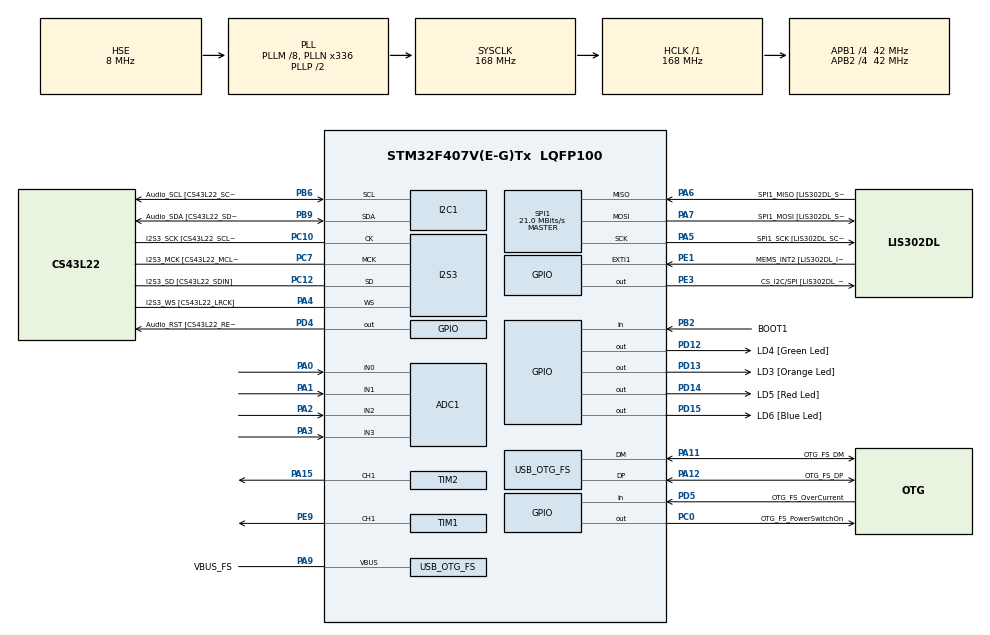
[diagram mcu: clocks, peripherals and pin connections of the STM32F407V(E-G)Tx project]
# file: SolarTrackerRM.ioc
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ADC1.Channel-0\#ChannelRegularConversion=ADC_CHANNEL_0
ADC1.Channel-1\#ChannelRegularConversion=ADC_CHANNEL_1
ADC1.Channel-2\#ChannelRegularConversion=ADC_CHANNEL_2
ADC1.Channel-3\#ChannelRegularConversion=ADC_CHANNEL_3
ADC1.ContinuousConvMode=ENABLE
ADC1.NbrOfConversion=4
ADC1.NbrOfConversionFlag=1
ADC1.Rank-0\#ChannelRegularConversion=1
ADC1.Rank-1\#ChannelRegularConversion=2
ADC1.Rank-2\#ChannelRegularConversion=3
ADC1.Rank-3\#ChannelRegularConversion=4
ADC1.SamplingTime-0\#ChannelRegularConversion=ADC_SAMPLETIME_480CYCLES
ADC1.SamplingTime-1\#ChannelRegularConversion=ADC_SAMPLETIME_480CYCLES
ADC1.SamplingTime-2\#ChannelRegularConversion=ADC_SAMPLETIME_480CYCLES
ADC1.SamplingTime-3\#ChannelRegularConversion=ADC_SAMPLETIME_480CYCLES
ADC1.ScanConvMode=ENABLE
ADC1.master=1
Dma.ADC1.0.Direction=DMA_PERIPH_TO_MEMORY
Dma.ADC1.0.FIFOMode=DMA_FIFOMODE_DISABLE
Dma.ADC1.0.Instance=DMA2_Stream0
Dma.ADC1.0.MemDataAlignment=DMA_MDATAALIGN_HALFWORD
Dma.ADC1.0.MemInc=DMA_MINC_ENABLE
Dma.ADC1.0.Mode=DMA_CIRCULAR
Dma.ADC1.0.PeriphDataAlignment=DMA_PDATAALIGN_HALFWORD
Dma.ADC1.0.PeriphInc=DMA_PINC_DISABLE
Dma.ADC1.0.Priority=DMA_PRIORITY_LOW
Dma.Request0=ADC1
I2S3.AudioFreq-Half_Duplex_Master=I2S_AUDIOFREQ_96K
I2S3.ErrorAudioFreq=-2.34 %
I2S3.ErrorAudioFreq-Half_Duplex_Master=0.8 %
I2S3.FullDuplexMode=I2S_FULLDUPLEXMODE_DISABLE
I2S3.Instance=SPI$Index
I2S3.RealAudioFreq=93.75 KHz
I2S3.RealAudioFreq-Half_Duplex_Master=96.774 KHz
I2S3.VirtualMode=I2S_MODE_MASTER
Mcu.Family=STM32F4
Mcu.Name=STM32F407V(E-G)Tx
Mcu.Package=LQFP100
NVIC.ADC_IRQn=true\:0\:0\:false\:false\:true\:true\:true\:true
NVIC.DMA2_Stream0_IRQn=true\:0\:0\:false\:false\:true\:false\:true\:true
NVIC.OTG_FS_IRQn=true\:0\:0\:false\:false\:true\:true\:true\:true
NVIC.PriorityGroup=NVIC_PRIORITYGROUP_0
PA0-WKUP.Signal=ADCx_IN0
PA1.Signal=ADCx_IN1
PA10.GPIO_Label=OTG_FS_ID
PA10.GPIO_Mode=GPIO_MODE_AF_PP
PA10.GPIO_PuPd=GPIO_NOPULL
PA10.GPIO_Speed=GPIO_SPEED_FREQ_LOW
PA10.Signal=USB_OTG_FS_ID
PA11.GPIO_Label=OTG_FS_DM
PA11.GPIO_Mode=GPIO_MODE_AF_PP
PA11.GPIO_PuPd=GPIO_NOPULL
PA11.GPIO_Speed=GPIO_SPEED_FREQ_LOW
PA11.Mode=Host_Only
PA11.Signal=USB_OTG_FS_DM
PA12.GPIO_Label=OTG_FS_DP
PA12.GPIO_Mode=GPIO_MODE_AF_PP
PA12.GPIO_PuPd=GPIO_NOPULL
PA12.GPIO_Speed=GPIO_SPEED_FREQ_LOW
PA12.Mode=Host_Only
PA12.Signal=USB_OTG_FS_DP
PA13.GPIO_Label=SWDIO
PA13.Mode=Serial_Wire
PA13.Signal=SYS_JTMS-SWDIO
PA14.GPIO_Label=SWCLK
PA14.Mode=Serial_Wire
PA14.Signal=SYS_JTCK-SWCLK
PA15.Signal=S_TIM2_CH1_ETR
PA2.Signal=ADCx_IN2
PA3.Signal=ADCx_IN3
PA4.GPIO_Label=I2S3_WS [CS43L22_LRCK]
PA4.GPIO_Mode=GPIO_MODE_AF_PP
PA4.GPIO_PuPd=GPIO_NOPULL
PA4.GPIO_Speed=GPIO_SPEED_FREQ_LOW
PA4.Mode=Half_Duplex_Master
PA4.Signal=I2S3_WS
PA5.GPIO_Label=SPI1_SCK [LIS302DL_SCL/SPC]
PA5.GPIO_Mode=GPIO_MODE_AF_PP
PA5.GPIO_PuPd=GPIO_NOPULL
PA5.GPIO_Speed=GPIO_SPEED_FREQ_LOW
PA5.Mode=Full_Duplex_Master
PA5.Signal=SPI1_SCK
PA6.GPIO_Label=SPI1_MISO [LIS302DL_SDO]
PA6.GPIO_Mode=GPIO_MODE_AF_PP
PA6.GPIO_PuPd=GPIO_NOPULL
PA6.GPIO_Speed=GPIO_SPEED_FREQ_LOW
PA6.Mode=Full_Duplex_Master
PA6.Signal=SPI1_MISO
PA7.GPIO_Label=SPI1_MOSI [LIS302DL_SDA/SDI/SDO]
PA7.GPIO_Mode=GPIO_MODE_AF_PP
PA7.GPIO_PuPd=GPIO_NOPULL
PA7.GPIO_Speed=GPIO_SPEED_FREQ_LOW
PA7.Mode=Full_Duplex_Master
PA7.Signal=SPI1_MOSI
PA9.GPIO_Label=VBUS_FS
PA9.GPIO_Mode=GPIO_MODE_INPUT
PA9.GPIO_PuPd=GPIO_NOPULL
PA9.Mode=Activate_VBUS
PA9.Signal=USB_OTG_FS_VBUS
PB10.GPIO_Label=CLK_IN [MP45DT02_CLK]
PB10.GPIO_Mode=GPIO_MODE_AF_PP
PB10.GPIO_PuPd=GPIO_NOPULL
PB10.GPIO_Speed=GPIO_SPEED_FREQ_LOW
PB10.Signal=I2S2_CK
PB2.GPIO_Label=BOOT1
PB2.GPIO_Mode=GPIO_MODE_INPUT
PB2.GPIO_PuPd=GPIO_NOPULL
PB2.Signal=GPIO_Input
PB3.GPIO_Label=SWO
PB3.Signal=SYS_JTDO-SWO
PB6.GPIO_Label=Audio_SCL [CS43L22_SCL]
PB6.GPIO_Mode=GPIO_MODE_AF_OD
PB6.GPIO_Pu=GPIO_PULLUP
PB6.GPIO_PuPd=GPIO_NOPULL
PB6.GPIO_Speed=GPIO_SPEED_FREQ_LOW
PB6.Mode=I2C
PB6.Signal=I2C1_SCL
PB9.GPIO_Label=Audio_SDA [CS43L22_SDA]
PB9.GPIO_Mode=GPIO_MODE_AF_OD
PB9.GPIO_Pu=GPIO_PULLUP
PB9.GPIO_PuPd=GPIO_NOPULL
PB9.GPIO_Speed=GPIO_SPEED_FREQ_LOW
PB9.Mode=I2C
PB9.Signal=I2C1_SDA
PC0.GPIO_Label=OTG_FS_PowerSwitchOn
PC0.GPIO_PuPd=GPIO_NOPULL
PC0.GPIO_Speed=GPIO_SPEED_FREQ_LOW
PC0.PinState=GPIO_PIN_SET
PC0.Signal=GPIO_Output
PC10.GPIO_Label=I2S3_SCK [CS43L22_SCLK]
PC10.GPIO_Mode=GPIO_MODE_AF_PP
PC10.GPIO_PuPd=GPIO_NOPULL
PC10.GPIO_Speed=GPIO_SPEED_FREQ_LOW
PC10.Mode=Half_Duplex_Master
PC10.Signal=I2S3_CK
PC12.GPIO_Label=I2S3_SD [CS43L22_SDIN]
PC12.GPIO_Mode=GPIO_MODE_AF_PP
PC12.GPIO_PuPd=GPIO_NOPULL
PC12.GPIO_Speed=GPIO_SPEED_FREQ_LOW
PC12.Mode=Half_Duplex_Master
PC12.Signal=I2S3_SD
PC14-OSC32_IN.GPIO_Label=PC14-OSC32_IN
PC14-OSC32_IN.Mode=LSE-External-Oscillator
PC14-OSC32_IN.Signal=RCC_OSC32_IN
PC15-OSC32_OUT.GPIO_Label=PC15-OSC32_OUT
PC15-OSC32_OUT.Mode=LSE-External-Oscillator
PC15-OSC32_OUT.Signal=RCC_OSC32_OUT
PC3.GPIO_Label=PDM_OUT [MP45DT02_DOUT]
PC3.GPIO_Mode=GPIO_MODE_AF_PP
PC3.GPIO_PuPd=GPIO_NOPULL
PC3.GPIO_Speed=GPIO_SPEED_FREQ_LOW
PC3.Signal=I2S2_SD
PC7.GPIO_Label=I2S3_MCK [CS43L22_MCLK]
PC7.GPIO_Mode=GPIO_MODE_AF_PP
PC7.GPIO_PuPd=GPIO_NOPULL
PC7.GPIO_Speed=GPIO_SPEED_FREQ_LOW
PC7.Mode=Master_Clock_Activated
PC7.Signal=I2S3_MCK
PD12.GPIO_Label=LD4 [Green Led]
PD12.GPIO_PuPd=GPIO_NOPULL
PD12.GPIO_Speed=GPIO_SPEED_FREQ_LOW
PD12.Signal=GPIO_Output
PD13.GPIO_Label=LD3 [Orange Led]
PD13.GPIO_PuPd=GPIO_NOPULL
PD13.GPIO_Speed=GPIO_SPEED_FREQ_LOW
PD13.Signal=GPIO_Output
PD14.GPIO_Label=LD5 [Red Led]
PD14.GPIO_PuPd=GPIO_NOPULL
PD14.GPIO_Speed=GPIO_SPEED_FREQ_LOW
PD14.Signal=GPIO_Output
PD15.GPIO_Label=LD6 [Blue Led]
PD15.GPIO_PuPd=GPIO_NOPULL
PD15.GPIO_Speed=GPIO_SPEED_FREQ_LOW
PD15.Signal=GPIO_Output
PD4.GPIO_Label=Audio_RST [CS43L22_RESET]
PD4.GPIO_PuPd=GPIO_NOPULL
PD4.GPIO_Speed=GPIO_SPEED_FREQ_LOW
PD4.Signal=GPIO_Output
PD5.GPIO_Label=OTG_FS_OverCurrent
PD5.GPIO_Mode=GPIO_MODE_INPUT
PD5.GPIO_PuPd=GPIO_NOPULL
PD5.Signal=GPIO_Input
PE1.GPIO_Label=MEMS_INT2 [LIS302DL_INT2]
PE1.GPIO_ModeDefaultEXTI=GPIO_MODE_EVT_RISING
PE1.GPIO_PuPd=GPIO_NOPULL
PE1.Signal=GPXTI1
PE3.GPIO_Label=CS_I2C/SPI [LIS302DL_CS_I2C/SPI]
PE3.GPIO_PuPd=GPIO_NOPULL
PE3.GPIO_Speed=GPIO_SPEED_FREQ_LOW
PE3.Signal=GPIO_Output
PE9.Signal=S_TIM1_CH1
PH0-OSC_IN.GPIO_Label=PH0-OSC_IN
PH0-OSC_IN.Mode=HSE-External-Oscillator
PH0-OSC_IN.Signal=RCC_OSC_IN
PH1-OSC_OUT.GPIO_Label=PH1-OSC_OUT
PH1-OSC_OUT.Mode=HSE-External-Oscillator
PH1-OSC_OUT.Signal=RCC_OSC_OUT
ProjectManager.HeapSize=0x200
ProjectManager.StackSize=0x400
ProjectManager.TargetToolchain=STM32CubeIDE
RCC.48MHZClocksFreq_Value=48000000
RCC.AHBFreq_Value=168000000
RCC.APB1CLKDivider=RCC_HCLK_DIV4
RCC.APB1Freq_Value=42000000
RCC.APB1TimFreq_Value=84000000
RCC.APB2CLKDivider=RCC_HCLK_DIV4
RCC.APB2Freq_Value=42000000
RCC.APB2TimFreq_Value=84000000
RCC.CortexFreq_Value=168000000
RCC.HCLKFreq_Value=168000000
RCC.HSE_VALUE=8000000
RCC.HSI_VALUE=16000000
RCC.PLLM=8
RCC.PLLN=336
RCC.PLLQ=7
RCC.SYSCLKFreq_VALUE=168000000
RCC.SYSCLKSource=RCC_SYSCLKSOURCE_PLLCLK
RCC.VCOOutputFreq_Value=336000000
SH.ADCx_IN0.0=ADC1_IN0,IN0
SH.ADCx_IN1.0=ADC1_IN1,IN1
SH.ADCx_IN2.0=ADC1_IN2,IN2
SH.ADCx_IN3.0=ADC1_IN3,IN3
SH.S_TIM1_CH1.0=TIM1_CH1,PWM Generation1 CH1
SH.S_TIM2_CH1_ETR.0=TIM2_CH1,PWM Generation1 CH1
SPI1.BaudRatePrescaler-Full_Duplex_Master=SPI_BAUDRATEPRESCALER_2
SPI1.CalculateBaudRate=21.0 MBits/s
SPI1.CalculateBaudRate-Full_Duplex_Master=42.0 MBits/s
SPI1.Direction=SPI_DIRECTION_2LINES
SPI1.Mode=SPI_MODE_MASTER
SPI1.Mode-Full_Duplex_Master=SPI_MODE_MASTER
SPI1.VirtualType=VM_MASTER
TIM1.Channel-PWM\ Generation1\ CH1=TIM_CHANNEL_1
TIM1.Period=10000-1
TIM1.Prescaler=168-1
TIM2.Channel-PWM\ Generation1\ CH1=TIM_CHANNEL_1
TIM2.Period=10000-1
TIM2.Prescaler=168-1
USB_HOST.BSP.number=1
USB_HOST.USBH_HandleTypeDef-CDC_FS=hUsbHostFS
USB_HOST.VirtualModeFS=Cdc
USB_HOST0.BSP.STBoard=false
USB_HOST0.BSP.api=Unknown
USB_HOST0.BSP.instance=PC0
USB_HOST0.BSP.ip=GPIO
USB_HOST0.BSP.mode=Output
USB_HOST0.BSP.name=Drive_VBUS_FS
USB_HOST0.BSP.solution=PC0
USB_OTG_FS.VirtualMode=Host_Only
USB_OTG_FS.phy_itface=HCD_PHY_EMBEDDED
VP_USB_HOST_VS_USB_HOST_CDC_FS.Mode=CDC_FS
board=STM32F407G-DISC1

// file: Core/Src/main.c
/* USER CODE BEGIN Header */
/**
  ******************************************************************************
  * @file           : main.c
  * @brief          : Main program body
  ******************************************************************************
  * @attention
  *
  * Copyright (c) 2024 STMicroelectronics.
  * All rights reserved.
  *
  * This software is licensed under terms that can be found in the LICENSE file
  * in the root directory of this software component.
  * If no LICENSE file comes with this software, it is provided AS-IS.
  *
  ******************************************************************************
  */
/* USER CODE END Header */
#include "main.h"
#include "usb_host.h"
#include "stdio.h"

ADC_HandleTypeDef hadc1;
DMA_HandleTypeDef hdma_adc1;

I2C_HandleTypeDef hi2c1;

I2S_HandleTypeDef hi2s3;

SPI_HandleTypeDef hspi1;

TIM_HandleTypeDef htim1;
TIM_HandleTypeDef htim2;

/* USER CODE BEGIN PV */
uint16_t tl=0;
uint16_t bl=0;
uint16_t tr=0;
uint16_t br=0;
uint16_t servo_v=250;
uint16_t servo_h=250;
uint16_t raw[4];
int servo_H_limit2=750;
int servo_H_limit=1250;
int servo_L_limit=250;

/* USER CODE END PV */

void SystemClock_Config(void);
static void MX_GPIO_Init(void);
static void MX_DMA_Init(void);
static void MX_I2C1_Init(void);
static void MX_I2S3_Init(void);
static void MX_SPI1_Init(void);
static void MX_TIM1_Init(void);
static void MX_TIM2_Init(void);
static void MX_ADC1_Init(void);
void MX_USB_HOST_Process(void);

/* USER CODE BEGIN 0 */
int _write(int file, char *ptr, int len)
{
  int i;

  for (i = 0; i < len; i++)
  {
   ITM_SendChar (*ptr++);
  }
  return len;
}
/* USER CODE END 0 */

int main(void)
{

  /* MCU Configuration--------------------------------------------------------*/

  /* Reset of all peripherals, Initializes the Flash interface and the Systick. */
  HAL_Init();

  /* Configure the system clock */
  SystemClock_Config();

  /* Initialize all configured peripherals */
  MX_GPIO_Init();
  MX_DMA_Init();
  MX_I2C1_Init();
  MX_I2S3_Init();
  MX_SPI1_Init();
  MX_USB_HOST_Init();
  MX_TIM1_Init();
  MX_TIM2_Init();
  MX_ADC1_Init();
  HAL_ADC_Start_DMA(&hadc1,(uint32_t*)raw,4);
  HAL_TIM_PWM_Start_IT(&htim1,TIM_CHANNEL_1);
  HAL_TIM_PWM_Start_IT(&htim2,TIM_CHANNEL_1);
  /* Infinite loop */
  while (1)
  {
    MX_USB_HOST_Process();
    tl=(uint16_t)raw[0];
    bl=(uint16_t)raw[1];
    tr=(uint16_t)raw[2];
    br=(uint16_t)raw[3];

    printf("topleft = %hu\n",tl);
    printf("topright = %hu\n",tr);
    printf("botleft = %hu\n",bl);
    printf("botright = %hu\n\n",br);

    uint16_t avgtop=tl+tr;
    uint16_t avgbot=bl+br;
    uint16_t avglef=tl+bl;
    uint16_t avgrig=tr+br;
    /*
    printf("avgtop = %hu\n",avgtop);
    printf("avgbot = %hu\n",avgbot);
    printf("avgleft = %hu\n",avglef);
    printf("avgright = %hu\n",avgrig);
    */
    if(avgtop>avgbot){
    	printf("top \n");
        servo_v-=10;
        if(servo_v<=servo_L_limit){
        	servo_v=servo_L_limit;
        }
        __HAL_TIM_SET_COMPARE(&htim1,TIM_CHANNEL_1,servo_v);
        HAL_Delay(100);
    }
    else if(avgbot>avgtop){
        printf("bottom\n");
        servo_v+=10;
        if(servo_v>=servo_H_limit2){
           servo_v=servo_H_limit2;
        }
        __HAL_TIM_SET_COMPARE(&htim1,TIM_CHANNEL_1,servo_v);
        HAL_Delay(100);
    }
    else{
        __HAL_TIM_SET_COMPARE(&htim1,TIM_CHANNEL_1,500);
    }
    if(avglef>avgrig){
        printf("left\n");
        servo_h-=10;
        if(servo_h<=servo_L_limit){
            servo_h=servo_L_limit;
        }
        __HAL_TIM_SET_COMPARE(&htim2,TIM_CHANNEL_1,servo_h);
        HAL_Delay(100);

    }

    else if(avgrig>avglef){
        printf("right\n");
        servo_h+=10;
        if(servo_h>=servo_H_limit){
            servo_h=servo_H_limit;
        }
        __HAL_TIM_SET_COMPARE(&htim2,TIM_CHANNEL_1,servo_h);
        HAL_Delay(100);

    }
    else{
        __HAL_TIM_SET_COMPARE(&htim2,TIM_CHANNEL_1,750);
    }

  }
}
void HAL_ADC_ConvCpltCallback(ADC_HandleTypeDef *hadc)
{
	HAL_ADC_Start_DMA(&hadc1,(uint32_t*)raw,4);
}
void SystemClock_Config(void)
{
  RCC_OscInitTypeDef RCC_OscInitStruct = {0};
  RCC_ClkInitTypeDef RCC_ClkInitStruct = {0};

  /** Configure the main internal regulator output voltage
  */
  __HAL_RCC_PWR_CLK_ENABLE();
  __HAL_PWR_VOLTAGESCALING_CONFIG(PWR_REGULATOR_VOLTAGE_SCALE1);

  /** Initializes the RCC Oscillators according to the specified parameters
  * in the RCC_OscInitTypeDef structure.
  */
  RCC_OscInitStruct.OscillatorType = RCC_OSCILLATORTYPE_HSE;
  RCC_OscInitStruct.HSEState = RCC_HSE_ON;
  RCC_OscInitStruct.PLL.PLLState = RCC_PLL_ON;
  RCC_OscInitStruct.PLL.PLLSource = RCC_PLLSOURCE_HSE;
  RCC_OscInitStruct.PLL.PLLM = 8;
  RCC_OscInitStruct.PLL.PLLN = 336;
  RCC_OscInitStruct.PLL.PLLP = RCC_PLLP_DIV2;
  RCC_OscInitStruct.PLL.PLLQ = 7;
  if (HAL_RCC_OscConfig(&RCC_OscInitStruct) != HAL_OK)
  {
    Error_Handler();
  }

  /** Initializes the CPU, AHB and APB buses clocks
  */
  RCC_ClkInitStruct.ClockType = RCC_CLOCKTYPE_HCLK|RCC_CLOCKTYPE_SYSCLK
                              |RCC_CLOCKTYPE_PCLK1|RCC_CLOCKTYPE_PCLK2;
  RCC_ClkInitStruct.SYSCLKSource = RCC_SYSCLKSOURCE_PLLCLK;
  RCC_ClkInitStruct.AHBCLKDivider = RCC_SYSCLK_DIV1;
  RCC_ClkInitStruct.APB1CLKDivider = RCC_HCLK_DIV4;
  RCC_ClkInitStruct.APB2CLKDivider = RCC_HCLK_DIV4;

  if (HAL_RCC_ClockConfig(&RCC_ClkInitStruct, FLASH_LATENCY_5) != HAL_OK)
  {
    Error_Handler();
  }
}

static void MX_ADC1_Init(void)
{

  ADC_ChannelConfTypeDef sConfig = {0};

  /** Configure the global features of the ADC (Clock, Resolution, Data Alignment and number of conversion)
  */
  hadc1.Instance = ADC1;
  hadc1.Init.ClockPrescaler = ADC_CLOCK_SYNC_PCLK_DIV2;
  hadc1.Init.Resolution = ADC_RESOLUTION_12B;
  hadc1.Init.ScanConvMode = ENABLE;
  hadc1.Init.ContinuousConvMode = ENABLE;
  hadc1.Init.DiscontinuousConvMode = DISABLE;
  hadc1.Init.ExternalTrigConvEdge = ADC_EXTERNALTRIGCONVEDGE_NONE;
  hadc1.Init.ExternalTrigConv = ADC_SOFTWARE_START;
  hadc1.Init.DataAlign = ADC_DATAALIGN_RIGHT;
  hadc1.Init.NbrOfConversion = 4;
  hadc1.Init.DMAContinuousRequests = DISABLE;
  hadc1.Init.EOCSelection = ADC_EOC_SINGLE_CONV;
  if (HAL_ADC_Init(&hadc1) != HAL_OK)
  {
    Error_Handler();
  }

  /** Configure for the selected ADC regular channel its corresponding rank in the sequencer and its sample time.
  */
  sConfig.Channel = ADC_CHANNEL_0;
  sConfig.Rank = 1;
  sConfig.SamplingTime = ADC_SAMPLETIME_480CYCLES;
  if (HAL_ADC_ConfigChannel(&hadc1, &sConfig) != HAL_OK)
  {
    Error_Handler();
  }

  /** Configure for the selected ADC regular channel its corresponding rank in the sequencer and its sample time.
  */
  sConfig.Channel = ADC_CHANNEL_1;
  sConfig.Rank = 2;
  if (HAL_ADC_ConfigChannel(&hadc1, &sConfig) != HAL_OK)
  {
    Error_Handler();
  }

  /** Configure for the selected ADC regular channel its corresponding rank in the sequencer and its sample time.
  */
  sConfig.Channel = ADC_CHANNEL_2;
  sConfig.Rank = 3;
  if (HAL_ADC_ConfigChannel(&hadc1, &sConfig) != HAL_OK)
  {
    Error_Handler();
  }

  /** Configure for the selected ADC regular channel its corresponding rank in the sequencer and its sample time.
  */
  sConfig.Channel = ADC_CHANNEL_3;
  sConfig.Rank = 4;
  if (HAL_ADC_ConfigChannel(&hadc1, &sConfig) != HAL_OK)
  {
    Error_Handler();
  }

}

static void MX_I2C1_Init(void)
{

  hi2c1.Instance = I2C1;
  hi2c1.Init.ClockSpeed = 100000;
  hi2c1.Init.DutyCycle = I2C_DUTYCYCLE_2;
  hi2c1.Init.OwnAddress1 = 0;
  hi2c1.Init.AddressingMode = I2C_ADDRESSINGMODE_7BIT;
  hi2c1.Init.DualAddressMode = I2C_DUALADDRESS_DISABLE;
  hi2c1.Init.OwnAddress2 = 0;
  hi2c1.Init.GeneralCallMode = I2C_GENERALCALL_DISABLE;
  hi2c1.Init.NoStretchMode = I2C_NOSTRETCH_DISABLE;
  if (HAL_I2C_Init(&hi2c1) != HAL_OK)
  {
    Error_Handler();
  }

}

static void MX_I2S3_Init(void)
{

  hi2s3.Instance = SPI3;
  hi2s3.Init.Mode = I2S_MODE_MASTER_TX;
  hi2s3.Init.Standard = I2S_STANDARD_PHILIPS;
  hi2s3.Init.DataFormat = I2S_DATAFORMAT_16B;
  hi2s3.Init.MCLKOutput = I2S_MCLKOUTPUT_ENABLE;
  hi2s3.Init.AudioFreq = I2S_AUDIOFREQ_96K;
  hi2s3.Init.CPOL = I2S_CPOL_LOW;
  hi2s3.Init.ClockSource = I2S_CLOCK_PLL;
  hi2s3.Init.FullDuplexMode = I2S_FULLDUPLEXMODE_DISABLE;
  if (HAL_I2S_Init(&hi2s3) != HAL_OK)
  {
    Error_Handler();
  }

}

static void MX_SPI1_Init(void)
{

  /* SPI1 parameter configuration*/
  hspi1.Instance = SPI1;
  hspi1.Init.Mode = SPI_MODE_MASTER;
  hspi1.Init.Direction = SPI_DIRECTION_2LINES;
  hspi1.Init.DataSize = SPI_DATASIZE_8BIT;
  hspi1.Init.CLKPolarity = SPI_POLARITY_LOW;
  hspi1.Init.CLKPhase = SPI_PHASE_1EDGE;
  hspi1.Init.NSS = SPI_NSS_SOFT;
  hspi1.Init.BaudRatePrescaler = SPI_BAUDRATEPRESCALER_2;
  hspi1.Init.FirstBit = SPI_FIRSTBIT_MSB;
  hspi1.Init.TIMode = SPI_TIMODE_DISABLE;
  hspi1.Init.CRCCalculation = SPI_CRCCALCULATION_DISABLE;
  hspi1.Init.CRCPolynomial = 10;
  if (HAL_SPI_Init(&hspi1) != HAL_OK)
  {
    Error_Handler();
  }

}

static void MX_TIM1_Init(void)
{

  TIM_MasterConfigTypeDef sMasterConfig = {0};
  TIM_OC_InitTypeDef sConfigOC = {0};
  TIM_BreakDeadTimeConfigTypeDef sBreakDeadTimeConfig = {0};

  htim1.Instance = TIM1;
  htim1.Init.Prescaler = 168-1;
  htim1.Init.CounterMode = TIM_COUNTERMODE_UP;
  htim1.Init.Period = 10000-1;
  htim1.Init.ClockDivision = TIM_CLOCKDIVISION_DIV1;
  htim1.Init.RepetitionCounter = 0;
  htim1.Init.AutoReloadPreload = TIM_AUTORELOAD_PRELOAD_DISABLE;
  if (HAL_TIM_PWM_Init(&htim1) != HAL_OK)
  {
    Error_Handler();
  }
  sMasterConfig.MasterOutputTrigger = TIM_TRGO_RESET;
  sMasterConfig.MasterSlaveMode = TIM_MASTERSLAVEMODE_DISABLE;
  if (HAL_TIMEx_MasterConfigSynchronization(&htim1, &sMasterConfig) != HAL_OK)
  {
    Error_Handler();
  }
  sConfigOC.OCMode = TIM_OCMODE_PWM1;
  sConfigOC.Pulse = 0;
  sConfigOC.OCPolarity = TIM_OCPOLARITY_HIGH;
  sConfigOC.OCNPolarity = TIM_OCNPOLARITY_HIGH;
  sConfigOC.OCFastMode = TIM_OCFAST_DISABLE;
  sConfigOC.OCIdleState = TIM_OCIDLESTATE_RESET;
  sConfigOC.OCNIdleState = TIM_OCNIDLESTATE_RESET;
  if (HAL_TIM_PWM_ConfigChannel(&htim1, &sConfigOC, TIM_CHANNEL_1) != HAL_OK)
  {
    Error_Handler();
  }
  sBreakDeadTimeConfig.OffStateRunMode = TIM_OSSR_DISABLE;
  sBreakDeadTimeConfig.OffStateIDLEMode = TIM_OSSI_DISABLE;
  sBreakDeadTimeConfig.LockLevel = TIM_LOCKLEVEL_OFF;
  sBreakDeadTimeConfig.DeadTime = 0;
  sBreakDeadTimeConfig.BreakState = TIM_BREAK_DISABLE;
  sBreakDeadTimeConfig.BreakPolarity = TIM_BREAKPOLARITY_HIGH;
  sBreakDeadTimeConfig.AutomaticOutput = TIM_AUTOMATICOUTPUT_DISABLE;
  if (HAL_TIMEx_ConfigBreakDeadTime(&htim1, &sBreakDeadTimeConfig) != HAL_OK)
  {
    Error_Handler();
  }
  HAL_TIM_MspPostInit(&htim1);

}

static void MX_TIM2_Init(void)
{

  TIM_MasterConfigTypeDef sMasterConfig = {0};
  TIM_OC_InitTypeDef sConfigOC = {0};

  htim2.Instance = TIM2;
  htim2.Init.Prescaler = 168-1;
  htim2.Init.CounterMode = TIM_COUNTERMODE_UP;
  htim2.Init.Period = 10000-1;
  htim2.Init.ClockDivision = TIM_CLOCKDIVISION_DIV1;
  htim2.Init.AutoReloadPreload = TIM_AUTORELOAD_PRELOAD_DISABLE;
  if (HAL_TIM_PWM_Init(&htim2) != HAL_OK)
  {
    Error_Handler();
  }
  sMasterConfig.MasterOutputTrigger = TIM_TRGO_RESET;
  sMasterConfig.MasterSlaveMode = TIM_MASTERSLAVEMODE_DISABLE;
  if (HAL_TIMEx_MasterConfigSynchronization(&htim2, &sMasterConfig) != HAL_OK)
  {
    Error_Handler();
  }
  sConfigOC.OCMode = TIM_OCMODE_PWM1;
  sConfigOC.Pulse = 0;
  sConfigOC.OCPolarity = TIM_OCPOLARITY_HIGH;
  sConfigOC.OCFastMode = TIM_OCFAST_DISABLE;
  if (HAL_TIM_PWM_ConfigChannel(&htim2, &sConfigOC, TIM_CHANNEL_1) != HAL_OK)
  {
    Error_Handler();
  }
  HAL_TIM_MspPostInit(&htim2);

}

static void MX_DMA_Init(void)
{

  /* DMA controller clock enable */
  __HAL_RCC_DMA2_CLK_ENABLE();

  /* DMA interrupt init */
  /* DMA2_Stream0_IRQn interrupt configuration */
  HAL_NVIC_SetPriority(DMA2_Stream0_IRQn, 0, 0);
  HAL_NVIC_EnableIRQ(DMA2_Stream0_IRQn);

}

static void MX_GPIO_Init(void)
{
  GPIO_InitTypeDef GPIO_InitStruct = {0};

  /* GPIO Ports Clock Enable */
  __HAL_RCC_GPIOE_CLK_ENABLE();
  __HAL_RCC_GPIOC_CLK_ENABLE();
  __HAL_RCC_GPIOH_CLK_ENABLE();
  __HAL_RCC_GPIOA_CLK_ENABLE();
  __HAL_RCC_GPIOB_CLK_ENABLE();
  __HAL_RCC_GPIOD_CLK_ENABLE();

  /*Configure GPIO pin Output Level */
  HAL_GPIO_WritePin(CS_I2C_SPI_GPIO_Port, CS_I2C_SPI_Pin, GPIO_PIN_RESET);

  /*Configure GPIO pin Output Level */
  HAL_GPIO_WritePin(OTG_FS_PowerSwitchOn_GPIO_Port, OTG_FS_PowerSwitchOn_Pin, GPIO_PIN_SET);

  /*Configure GPIO pin Output Level */
  HAL_GPIO_WritePin(GPIOD, LD4_Pin|LD3_Pin|LD5_Pin|LD6_Pin
                          |Audio_RST_Pin, GPIO_PIN_RESET);

  /*Configure GPIO pin : CS_I2C_SPI_Pin */
  GPIO_InitStruct.Pin = CS_I2C_SPI_Pin;
  GPIO_InitStruct.Mode = GPIO_MODE_OUTPUT_PP;
  GPIO_InitStruct.Pull = GPIO_NOPULL;
  GPIO_InitStruct.Speed = GPIO_SPEED_FREQ_LOW;
  HAL_GPIO_Init(CS_I2C_SPI_GPIO_Port, &GPIO_InitStruct);

  /*Configure GPIO pin : OTG_FS_PowerSwitchOn_Pin */
  GPIO_InitStruct.Pin = OTG_FS_PowerSwitchOn_Pin;
  GPIO_InitStruct.Mode = GPIO_MODE_OUTPUT_PP;
  GPIO_InitStruct.Pull = GPIO_NOPULL;
  GPIO_InitStruct.Speed = GPIO_SPEED_FREQ_LOW;
  HAL_GPIO_Init(OTG_FS_PowerSwitchOn_GPIO_Port, &GPIO_InitStruct);

  /*Configure GPIO pin : PDM_OUT_Pin */
  GPIO_InitStruct.Pin = PDM_OUT_Pin;
  GPIO_InitStruct.Mode = GPIO_MODE_AF_PP;
  GPIO_InitStruct.Pull = GPIO_NOPULL;
  GPIO_InitStruct.Speed = GPIO_SPEED_FREQ_LOW;
  GPIO_InitStruct.Alternate = GPIO_AF5_SPI2;
  HAL_GPIO_Init(PDM_OUT_GPIO_Port, &GPIO_InitStruct);

  /*Configure GPIO pin : BOOT1_Pin */
  GPIO_InitStruct.Pin = BOOT1_Pin;
  GPIO_InitStruct.Mode = GPIO_MODE_INPUT;
  GPIO_InitStruct.Pull = GPIO_NOPULL;
  HAL_GPIO_Init(BOOT1_GPIO_Port, &GPIO_InitStruct);

  /*Configure GPIO pin : CLK_IN_Pin */
  GPIO_InitStruct.Pin = CLK_IN_Pin;
  GPIO_InitStruct.Mode = GPIO_MODE_AF_PP;
  GPIO_InitStruct.Pull = GPIO_NOPULL;
  GPIO_InitStruct.Speed = GPIO_SPEED_FREQ_LOW;
  GPIO_InitStruct.Alternate = GPIO_AF5_SPI2;
  HAL_GPIO_Init(CLK_IN_GPIO_Port, &GPIO_InitStruct);

  /*Configure GPIO pins : LD4_Pin LD3_Pin LD5_Pin LD6_Pin
                           Audio_RST_Pin */
  GPIO_InitStruct.Pin = LD4_Pin|LD3_Pin|LD5_Pin|LD6_Pin
                          |Audio_RST_Pin;
  GPIO_InitStruct.Mode = GPIO_MODE_OUTPUT_PP;
  GPIO_InitStruct.Pull = GPIO_NOPULL;
  GPIO_InitStruct.Speed = GPIO_SPEED_FREQ_LOW;
  HAL_GPIO_Init(GPIOD, &GPIO_InitStruct);

  /*Configure GPIO pin : OTG_FS_OverCurrent_Pin */
  GPIO_InitStruct.Pin = OTG_FS_OverCurrent_Pin;
  GPIO_InitStruct.Mode = GPIO_MODE_INPUT;
  GPIO_InitStruct.Pull = GPIO_NOPULL;
  HAL_GPIO_Init(OTG_FS_OverCurrent_GPIO_Port, &GPIO_InitStruct);

  /*Configure GPIO pin : MEMS_INT2_Pin */
  GPIO_InitStruct.Pin = MEMS_INT2_Pin;
  GPIO_InitStruct.Mode = GPIO_MODE_EVT_RISING;
  GPIO_InitStruct.Pull = GPIO_NOPULL;
  HAL_GPIO_Init(MEMS_INT2_GPIO_Port, &GPIO_InitStruct);

}

void Error_Handler(void)
{
  __disable_irq();
  while (1)
  {
  }
}
